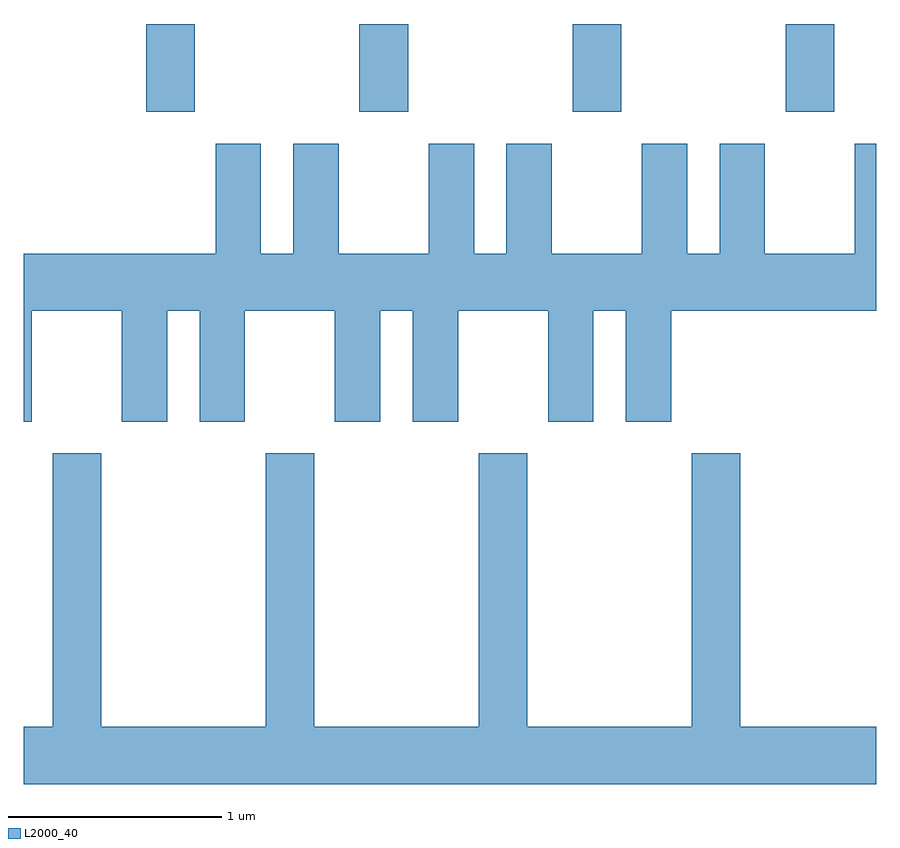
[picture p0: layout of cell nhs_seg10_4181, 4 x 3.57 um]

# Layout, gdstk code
import gdstk
lib = gdstk.Library(unit=1e-6, precision=1e-09)
def R(c, l, rs):  # rectangles x0, y0, x1, y1
    for r in rs: c.add(gdstk.rectangle(r[:2], r[2:], *l))
def A(c, l, x, y, w, h, nx, ny, dx, dy):  # array of equal rectangles
    R(c, l, [(x+i*dx, y+j*dy, x+i*dx+w, y+j*dy+h) for i in range(nx) for j in range(ny)])
def P(c, l, *ps):  # polygons
    for p in ps: c.add(gdstk.Polygon(p, *l))
L2000_40 = (2000, 40)

nhs_seg10_4181 = lib.new_cell('nhs_seg10_4181')
A(nhs_seg10_4181, L2000_40, 308.186, 2188.111, 0.228, 0.411, 4, 1, 1, 0)
P(nhs_seg10_4181, L2000_40, [(307.649,2187.176),(308.071,2187.176),(308.071,2186.656),(308.284,2186.656),(308.284,2187.176),(308.436,2187.176),(308.436,2186.656),(308.649,2186.656),(308.649,2187.176),(309.071,2187.176),(309.071,2186.656),(309.284,2186.656),(309.284,2187.176),(309.436,2187.176),(309.436,2186.656),(309.649,2186.656),(309.649,2187.176),(310.071,2187.176),(310.071,2186.656),(310.284,2186.656),(310.284,2187.176),(310.436,2187.176),(310.436,2186.656),(310.649,2186.656),(310.649,2187.176),(311.611,2187.176),(311.611,2187.959),(311.511,2187.959),(311.511,2187.444),(311.089,2187.444),(311.089,2187.959),(310.876,2187.959),(310.876,2187.444),(310.724,2187.444),(310.724,2187.959),(310.511,2187.959),(310.511,2187.444),(310.089,2187.444),(310.089,2187.959),(309.876,2187.959),(309.876,2187.444),(309.724,2187.444),(309.724,2187.959),(309.511,2187.959),(309.511,2187.444),(309.089,2187.444),(309.089,2187.959),(308.876,2187.959),(308.876,2187.444),(308.724,2187.444),(308.724,2187.959),(308.511,2187.959),(308.511,2187.444),(307.611,2187.444),(307.611,2186.656),(307.649,2186.656)],
  [(311.611,2185.224),(310.974,2185.224),(310.974,2186.509),(310.746,2186.509),(310.746,2185.224),(309.974,2185.224),(309.974,2186.509),(309.746,2186.509),(309.746,2185.224),(308.974,2185.224),(308.974,2186.509),(308.746,2186.509),(308.746,2185.224),(307.974,2185.224),(307.974,2186.509),(307.746,2186.509),(307.746,2185.224),(307.611,2185.224),(307.611,2184.956),(311.611,2184.956)])

lib.write_gds('nhs_seg10_4181.gds')
